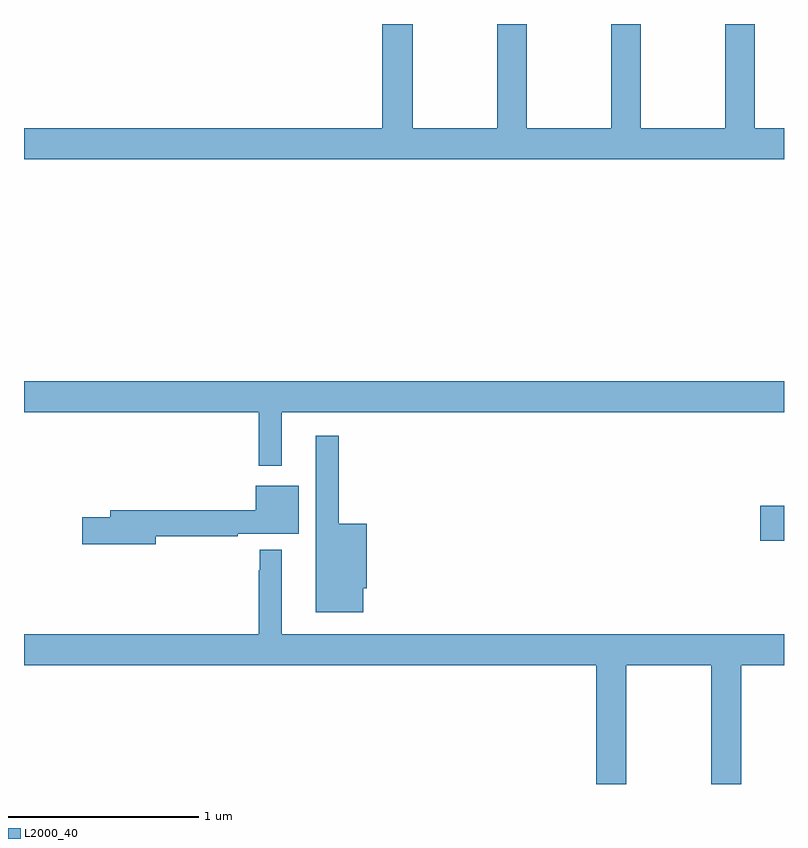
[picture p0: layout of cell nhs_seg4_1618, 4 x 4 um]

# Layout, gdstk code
import gdstk
lib = gdstk.Library(unit=1e-6, precision=1e-09)
def R(c, l, rs):  # rectangles x0, y0, x1, y1
    for r in rs: c.add(gdstk.rectangle(r[:2], r[2:], *l))
def P(c, l, *ps):  # polygons
    for p in ps: c.add(gdstk.Polygon(p, *l))
L2000_40 = (2000, 40)

nhs_seg4_1618 = lib.new_cell('nhs_seg4_1618')
R(nhs_seg4_1618, L2000_40, [(198.876,760.181,199,760.364)])
P(nhs_seg4_1618, L2000_40, [(199,762.352),(198.846,762.352),(198.846,762.9),(198.691,762.9),(198.691,762.352),(198.246,762.352),(198.246,762.9),(198.091,762.9),(198.091,762.352),(197.646,762.352),(197.646,762.9),(197.491,762.9),(197.491,762.352),(197.046,762.352),(197.046,762.9),(196.886,762.9),(196.886,762.352),(195,762.352),(195,762.188),(199,762.188)],
  [(196.357,760.856),(199,760.856),(199,761.02),(195,761.02),(195,760.856),(196.236,760.856),(196.236,760.575),(196.357,760.575)],
  [(196.786,759.93),(196.804,759.93),(196.804,760.27),(196.657,760.27),(196.657,760.732),(196.535,760.732),(196.535,759.803),(196.786,759.803)],
  [(195.694,760.204),(196.124,760.204),(196.124,760.217),(196.447,760.217),(196.447,760.471),(196.22,760.471),(196.22,760.34),(195.455,760.34),(195.455,760.304),(195.306,760.304),(195.306,760.162),(195.694,760.162)],
  [(198.171,759.524),(198.616,759.524),(198.616,758.9),(198.776,758.9),(198.776,759.524),(199,759.524),(199,759.688),(196.357,759.688),(196.357,760.132),(196.242,760.132),(196.242,760.025),(196.236,760.025),(196.236,759.688),(195,759.688),(195,759.524),(198.011,759.524),(198.011,758.9),(198.171,758.9)])

lib.write_gds('nhs_seg4_1618.gds')
